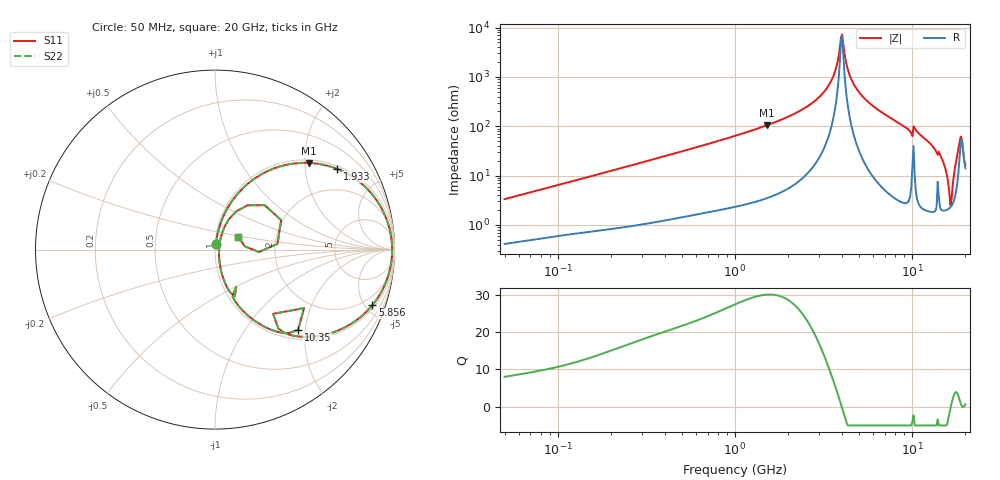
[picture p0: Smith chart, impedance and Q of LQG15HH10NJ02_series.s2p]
!Murata Part Number: LQG15HH10NJ02
!These Parameters are Measured in Series Mode Connection
!  o--[Z]--o
!Port1  Port2
!  o-------o
!Freq. Start=50[MHz] Stop=20[GHz], 401[Steps]
# Hz S RI R 50
!Freq.(Hz) S11(Real) S11(Imag) S21(Real) S21(Imag) S12(Real) S12(Imag) S22(Real) S22(Imag)
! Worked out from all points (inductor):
!   401 points, 50 MHz to 20 GHz, reference 50 ohm
!   read as one part in series: L = 10.4 nH near 51.52 MHz
!   highest Q = 30.1 at 1.521 GHz (marker M1), where L = 11 nH
!   self-resonance near 3.967 GHz
!   S11 on the Smith chart (normalised r, x): 50 MHz: 1.01, +0.07; 1.933 GHz: 1.10, +2.97; 5.856 GHz: 1.22, -5.56; 10.35 GHz: 1.20, -1.83; 20 GHz: 1.28, +0.19
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5e7  0.00519 0.0328  0.9948 -0.0328  0.9948 -0.0328  0.00519 0.0328
1.364002e8  0.0141 0.0843  0.9859 -0.0843  0.9859 -0.0843  0.0141 0.0843
3.721004e8  0.0601 0.2135  0.9399 -0.2135  0.9399 -0.2135  0.0601 0.2135
1e9  0.296 0.4387  0.704 -0.4387  0.704 -0.4387  0.296 0.4387
1.521052e9  0.5253 0.483  0.4747 -0.483  0.4747 -0.483  0.5253 0.483
1.932977e9  0.6822 0.4487  0.3178 -0.4487  0.3178 -0.4487  0.6822 0.4487
2.728004e9  0.8863 0.2943  0.1137 -0.2943  0.1137 -0.2943  0.8863 0.2943
3.466789e9  0.9713 0.1209  0.0287 -0.1209  0.0287 -0.1209  0.9713 0.1209
4.026975e9  0.987 -0.004  0.013 0.004  0.013 0.004  0.987 -0.004
4.34015e9  0.9824 -0.0683  0.0176 0.0683  0.0176 0.0683  0.9824 -0.0683
4.608136e9  0.9725 -0.1195  0.0275 0.1195  0.0275 0.1195  0.9725 -0.1195
5.856089e9  0.8762 -0.3104  0.1238 0.3104  0.1238 0.3104  0.8762 -0.3104
7.442007e9  0.695 -0.4469  0.305 0.4469  0.305 0.4469  0.695 -0.4469
9.745021e9  0.3872 -0.4638  0.6128 0.4638  0.6128 0.4638  0.3872 -0.4638
1.034674e10  0.4632 -0.4473  0.5368 0.4473  0.5368 0.4473  0.4632 -0.4473
1.238412e10  0.1967 -0.3783  0.8033 0.3783  0.8033 0.3783  0.1967 -0.3783
1.460232e10  0.0687 -0.2131  0.9313 0.2131  0.9313 0.2131  0.0687 -0.2131
1.646126e10  0.0225 -0.0101  0.9775 0.0101  0.9775 0.0101  0.0225 -0.0101
1.696185e10  0.0295 0.0546  0.9705 -0.0546  0.9705 -0.0546  0.0295 0.0546
1.774144e10  0.078 0.1701  0.922 -0.1701  0.922 -0.1701  0.078 0.1701
1.855685e10  0.2771 0.2476  0.7229 -0.2476  0.7229 -0.2476  0.2771 0.2476
2e10  0.1288 0.0713  0.8712 -0.0713  0.8712 -0.0713  0.1288 0.0713
